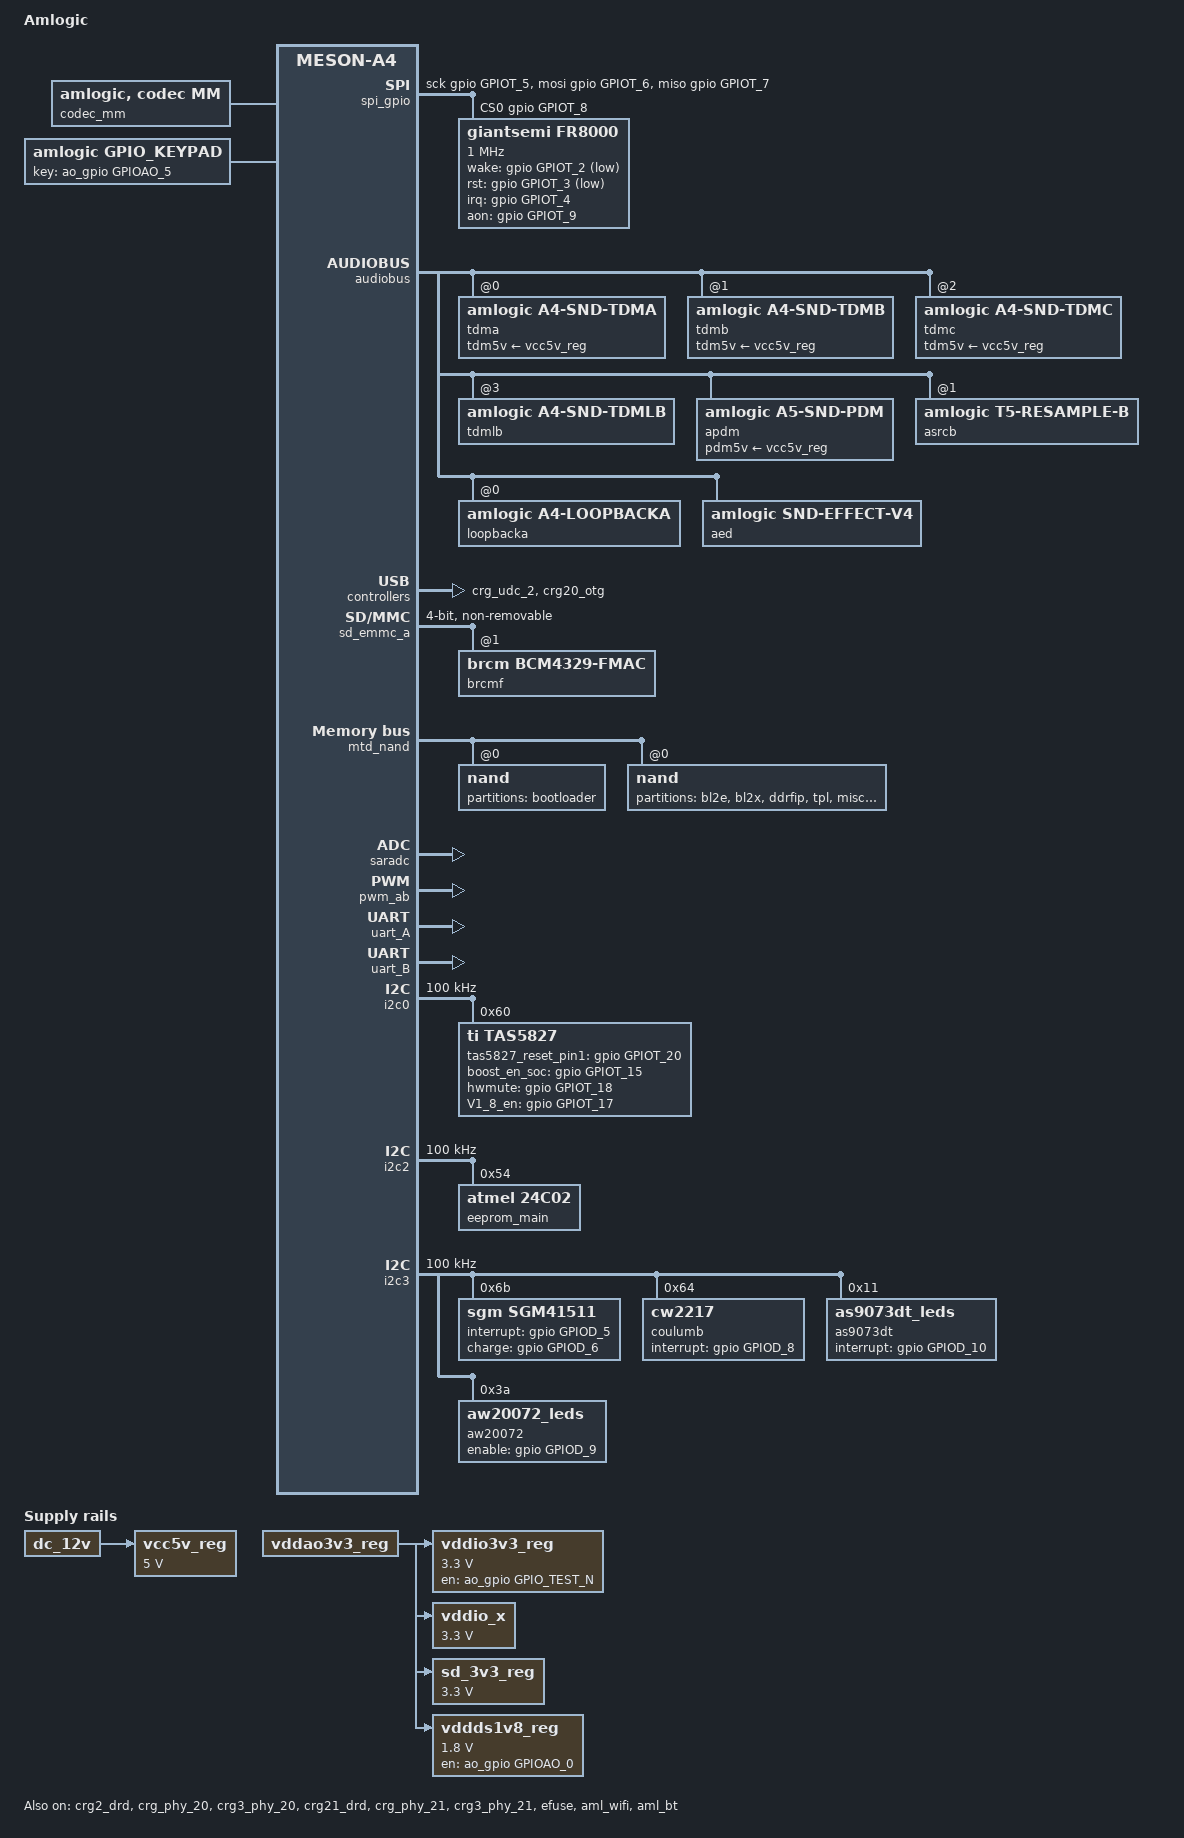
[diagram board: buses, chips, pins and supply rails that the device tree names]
// SPDX-License-Identifier: (GPL-2.0+ OR MIT)
/*
 * Copyright (c) 2021 Amlogic, Inc. All rights reserved.
 */

/dts-v1/;

#include "meson-a4.dtsi"
#include <dt-bindings/input/input.h>

/ {
	model = "Amlogic";
	amlogic-dt-id = "a4_a113l2_ba400";
	compatible = "amlogic, a4";
	interrupt-parent = <&gic>;
	#address-cells = <2>;
	#size-cells = <2>;

	aliases {
		serial0 = &uart_B;
		serial1 = &uart_A;
		serial2 = &uart_D;
		serial3 = &uart_E;
		serial4 = &uart_AO;
		i2c0 = &i2c0;
		i2c1 = &i2c1;
		i2c2 = &i2c2;
		i2c3 = &i2c3;
		//spi0 = &spifc;
		spi1 = &spicc0;
		spi2 = &spicc1;
		tsensor0 = &p_tsensor;
	};

	memory@00000000 {
		device_type = "memory";
		linux,usable-memory = <0x0 0x0 0x0 0x20000000>;
	};

	reserved-memory {
		#address-cells = <2>;
		#size-cells = <2>;
		ranges;

		ramdump_bl33z@00000000 {
			reg = <0x0 0x0 0x0 0x1800000>; /* 0 ~ 24M */
			status = "disabled";
		};

		dsp_fw_reserved:linux,dsp_fw {
			compatible = "shared-dma-pool";
			reusable;
			size = <0x0 0x00800000>;
			alignment = <0x0 0x00400000>;
			alloc-ranges = <0x0 0x30000000 0x0 0x00800000>;
		};

		/* global autoconfigured region for contiguous allocations */
		ramoops@0x07400000 {
			compatible = "ramoops";
			reg = <0x0 0x07400000 0x0 0x00100000>;
			record-size = <0x20000>;
			console-size = <0x40000>;
			ftrace-size = <0x80000>;
			pmsg-size = <0x20000>;
		};

		secmon_reserved:linux,secmon {
			compatible = "shared-dma-pool";
			reusable;
			size = <0x0 0x3400000>;
			alignment = <0x0 0x400000>;
			alloc-ranges = <0x0 0x05000000 0x0 0x00c00000>;
		};

		logo_reserved:linux,meson-fb {
			compatible = "shared-dma-pool";
			reusable;
			/* keep sync with fb */
			/* fox example:logo_addr = "0x3f800000"*/
			size = <0x0 0x0>;
			alignment = <0x0 0x400000>;
			reg = <0x0 0x3f000000 0x0 0x0>;
		};

		ion_cma_reserved:linux,ion-dev {
			compatible = "shared-dma-pool";
			reusable;
			size = <0x0 0x2000000>;
			alignment = <0x0 0x400000>;
		};
		codec_mm_cma:linux,codec_mm_cma {
			compatible = "shared-dma-pool";
			reusable;
			/* ion_codec_mm max can alloc size 80M*/
			size = <0x0 0x1000000>;
			alignment = <0x0 0x400000>;
			linux,contiguous-region;
		};

		/* codec shared reserved */
		codec_mm_reserved:linux,codec_mm_reserved {
			compatible = "amlogic, codec-mm-reserved";
			size = <0x0 0x0>;
			alignment = <0x0 0x100000>;
			//no-map;
		};
	};

	codec_mm {
		compatible = "amlogic, codec, mm";
		memory-region = <&codec_mm_cma &codec_mm_reserved>;
		dev_name = "codec_mm";
		status = "okay";
	};

	vcc5v_reg: fixed@vcc5v_reg{
		vin-supply = <&dc_12v>;
		compatible = "regulator-fixed";
		regulator-name = "VCC5V";
		regulator-min-microvolt = <5000000>;
		regulator-max-microvolt = <5000000>;
		//BA400 2R52 is NC;
		//gpio = <&ao_gpio GPIO_TEST_N GPIO_ACTIVE_HIGH>;
		//enable-active-high;
		regulator-boot-on;
		//regulator-always-on;
	};

	vddio3v3_reg: fixed@vddio3v3_reg{
		vin-supply = <&vddao3v3_reg>;
		compatible = "regulator-fixed";
		regulator-name = "VDDIO_3V3";
		regulator-min-microvolt = <3300000>;
		regulator-max-microvolt = <3300000>;
		gpio = <&ao_gpio GPIO_TEST_N GPIO_ACTIVE_HIGH>;
		enable-active-high;
		regulator-boot-on;
		regulator-always-on;
	};

	vddio_x: fixed@vddio_x {
		vin-supply = <&vddao3v3_reg>;
		compatible = "regulator-fixed";
		regulator-name = "VDDIO_X";
		regulator-min-microvolt = <3300000>;
		regulator-max-microvolt = <3300000>;
		// for led use GPIOD_8
		//gpios = <&gpio GPIOD_8 GPIO_ACTIVE_HIGH>;
		regulator-boot-on;
		regulator-always-on;
	};

	sd_3v3_reg: fixed@sd_3v3_reg{
		vin-supply = <&vddao3v3_reg>;
		compatible = "regulator-fixed";
		regulator-name = "SD_3V3";
		regulator-min-microvolt = <3300000>;
		regulator-max-microvolt = <3300000>;
		regulator-boot-on;
		regulator-always-on;
	};

	vddds1v8_reg: fixed@vddds1v8_reg{
		vin-supply = <&vddao3v3_reg>;
		compatible = "regulator-fixed";
		regulator-name = "VDD_DSOFF_1V8";
		regulator-min-microvolt = <1800000>;
		regulator-max-microvolt = <1800000>;
		gpio = <&ao_gpio GPIOAO_0 GPIO_ACTIVE_HIGH>;
		enable-active-high;
		regulator-boot-on;
		regulator-always-on;
	};

	provisionkey {
		compatible = "amlogic, provisionkey";
		status = "disabled";
		key-permit-default = "write";
		//new key not need add dts if started with KEY_PROVISION_
		KEY_PROVISION_XXX { };
		//test_my_added_keyname { };
	};//End provisionkey

	unifykey{
		compatible = "amlogic,unifykey";
		status = "okay";
		unifykey-num = <30>;
		unifykey-index-0 = <&keysn_0>;
		unifykey-index-1 = <&keysn_1>;
		unifykey-index-2 = <&keysn_2>;
		unifykey-index-3 = <&keysn_3>;
		unifykey-index-4 = <&keysn_4>;
		unifykey-index-5 = <&keysn_5>;
		unifykey-index-6 = <&keysn_6>;
		unifykey-index-7 = <&keysn_7>;
		unifykey-index-8 = <&keysn_8>;
		unifykey-index-9 = <&keysn_9>;
		unifykey-index-10 = <&keysn_10>;
		unifykey-index-11 = <&keysn_11>;
		unifykey-index-12 = <&keysn_12>;
		unifykey-index-13 = <&keysn_13>;
		unifykey-index-14 = <&keysn_14>;
		unifykey-index-15 = <&keysn_15>;
		unifykey-index-16 = <&keysn_16>;
		unifykey-index-17 = <&keysn_17>;
		unifykey-index-18 = <&keysn_18>;
		unifykey-index-19 = <&keysn_19>;
		unifykey-index-20 = <&keysn_20>;
		unifykey-index-21 = <&keysn_21>;
		unifykey-index-22 = <&keysn_22>;
		unifykey-index-23 = <&keysn_23>;
		unifykey-index-24 = <&keysn_24>;
		unifykey-index-25 = <&keysn_25>;
		unifykey-index-26 = <&keysn_26>;
		unifykey-index-27 = <&keysn_27>;
		unifykey-index-28 = <&keysn_28>;
		unifykey-index-29 = <&keysn_29>;
		keysn_0:key_0{
			key-name = "usid";
			key-device = "normal";
			key-permit = "read","write","del";
		};
		keysn_1:key_1{
			key-name = "mac";
			key-device = "normal";
			key-permit = "read","write","del";
		};
		keysn_2:key_2{
			key-name = "secure_boot_set";
			key-device = "efuse";
			key-permit = "write";
		};
		keysn_3:key_3{
			key-name = "mac_bt";
			key-device = "normal";
			key-permit = "read","write","del";
			key-type  = "mac";
		};
		keysn_4:key_4{
			key-name = "mac_wifi";
			key-device = "normal";
			key-permit = "read","write","del";
			key-type = "mac";
		};
		keysn_5:key_5{
			key-name = "deviceid";
			key-device = "normal";
			key-permit = "read","write","del";
		};
		keysn_6:key_6{
			key-name = "region_code";
			key-device = "normal";
			key-permit = "read","write","del";
		};
		keysn_7:key_7{
			key-name = "oemkey";
			key-device = "normal";
			key-permit = "read","write","del";
		};
		keysn_8:key_8{
			key-name = "model_id-1";
			key-device = "normal";
			key-permit = "read","write","del";
		};
		keysn_9:key_9{
			key-name = "anti_spoofing_pri-1";
			key-device = "normal";
			key-permit = "read","write","del";
		};
		keysn_10:key_10{
			key-name = "anti_spoofing_pub-1";
			key-device = "normal";
			key-permit = "read","write","del";
		};
		keysn_11:key_11{
			key-name = "model_id-2";
			key-device = "normal";
			key-permit = "read","write","del";
		};
		keysn_12:key_12{
			key-name = "anti_spoofing_pri-2";
			key-device = "normal";
			key-permit = "read","write","del";
		};
		keysn_13:key_13{
			key-name = "anti_spoofing_pub-2";
			key-device = "normal";
			key-permit = "read","write","del";
		};
		keysn_14:key_14{
			key-name = "model_id-3";
			key-device = "normal";
			key-permit = "read","write","del";
		};
		keysn_15:key_15{
			key-name = "anti_spoofing_pri-3";
			key-device = "normal";
			key-permit = "read","write","del";
		};
		keysn_16:key_16{
			key-name = "anti_spoofing_pub-3";
			key-device = "normal";
			key-permit = "read","write","del";
		};
		keysn_17:key_17{
                        key-name = "sibici_wakeup_key";
                        key-device = "normal";
                        key-permit = "read","write","del";
                };
		keysn_18:key_18{
                        key-name = "reserv_ggec_key";
                        key-device = "normal";
                        key-permit = "read","write","del";
                };
		keysn_19:key_19{
			key-name = "gcast_model_key";
			key-device = "normal";
			key-permit = "read","write","del";
		};
		keysn_20:key_20{
			key-name = "gcast_model_cert";
			key-device = "normal";
			key-permit = "read","write","del";
		};
		keysn_21:key_21{
			key-name = "gcast_client_key";
			key-device = "normal";
			key-permit = "read","write","del";
		};
		keysn_22:key_22{
			key-name = "gcast_client_cert";
			key-device = "normal";
			key-permit = "read","write","del";
		};
		keysn_23:key_23{
			key-name = "lak";
			key-device = "normal";
			key-permit = "read","write","del";
		};
		keysn_24:key_24{
			key-name = "mak";
			key-device = "normal";
			key-permit = "read","write","del";
		};
		keysn_25:key_25{
			key-name = "dak";
			key-device = "normal";
			key-permit = "read","write","del";
		};
		keysn_26:key_26{
			key-name = "luci_dev_key";
			key-device = "normal";
			key-permit = "read","write","del";
		};
		keysn_27:key_27{
			key-name = "luci_dev_cert";
			key-device = "normal";
			key-permit = "read","write","del";
		};
		keysn_28:key_28{
			key-name = "libre_resv1";
			key-device = "normal";
			key-permit = "read","write","del";
		};
		keysn_29:key_29{
			key-name = "libre_resv2";
			key-device = "normal";
			key-permit = "read","write","del";
		};

	};//End unifykey

	efusekey:efusekey{
		keynum = <4>;
		key0 = <&key_0>;
		key1 = <&key_1>;
		key2 = <&key_2>;
		key3 = <&key_3>;
		key_0:key_0{
			keyname = "mac";
			offset = <0>;
			size = <6>;
		};
		key_1:key_1{
			keyname = "mac_bt";
			offset = <6>;
			size = <6>;
		};
		key_2:key_2{
			keyname = "mac_wifi";
			offset = <12>;
			size = <6>;
		};
		key_3:key_3{
			keyname = "usid";
			offset = <18>;
			size = <16>;
		};
	};//End efusekey
	/* Audio Related start */
	auge_sound {
		compatible = "amlogic, auge-sound-card";
		aml-audio-card,name = "AML-AUGESOUND";

		/*avout mute gpio*/
		//avout_mute-gpios = <&gpio GPIOD_11 GPIO_ACTIVE_HIGH>;
		//spk_mute-gpios = <&gpio GPIOD_2 GPIO_ACTIVE_LOW>;

		aml-audio-card,dai-link@0 {
			format = "dsp_b";
			mclk-fs = <512>;
			//continuous-clock;
			//bitclock-inversion;
			//frame-inversion;
			/* master mode */
			bitclock-master = <&tdma>;
			frame-master = <&tdma>;
			/* slave mode */
			//bitclock-master = <&tdmacodec>;
			//frame-master = <&tdmacodec>;

			suffix-name = "alsaPORT-pcm";
			tdmacpu: cpu {
				sound-dai = <&tdma>;
				dai-tdm-slot-tx-mask =
							<1>;
				dai-tdm-slot-rx-mask =
							<1>;
				dai-tdm-slot-num = <2>;
				dai-tdm-slot-width = <16>;
				system-clock-frequency = <256000>;
			};
			tdmacodec: codec {
				sound-dai = <&dummy_codec>;
			};
		};

		aml-audio-card,dai-link@1 {
			format = "i2s";
			mclk-fs = <256>;
			//continuous-clock;
			//bitclock-inversion;
			//frame-inversion;
			/* master mode */
			bitclock-master = <&tdmb>;
			frame-master = <&tdmb>;
			/* slave mode */
			//bitclock-master = <&tdmbcodec>;
			//frame-master = <&tdmbcodec>;
			/* suffix-name, sync with android audio hal
			 * what's the dai link used for
			 */
			suffix-name = "alsaPORT-i2s";
			cpu {
				sound-dai = <&tdmb>;
				dai-tdm-slot-tx-mask = <1 1>;
				//dai-tdm-slot-rx-mask = <1 1>;
				dai-tdm-slot-num = <2>;
				/*
				 * dai-tdm-slot-tx-mask =
				 *	<1 1 1 1 1 1 1 1>;
				 * dai-tdm-slot-rx-mask =
				 *	<1 1 1 1 1 1 1 1>;
				 * dai-tdm-slot-num = <8>;
				 */
				dai-tdm-slot-width = <32>;
				system-clock-frequency = <12288000>;
			};
			tdmbcodec: codec {
				prefix-names = "tas5827";
				sound-dai = <&tas5827>;
			};
		};

		aml-audio-card,dai-link@2 {
			mclk-fs = <64>;
			/* suffix-name, sync with android audio hal
			 * what's the dai link used for
			 */
			suffix-name = "alsaPORT-pdm";
			cpu {
				sound-dai = <&apdm>;
			};
			codec {
				sound-dai = <&dummy_codec>;
			};
		};
		aml-audio-card,dai-link@3 {
			mclk-fs = <256>;
			continuous-clock;
			suffix-name = "alsaPORT-loopback";
			cpu {
				sound-dai = <&loopbacka>;
				system-clock-frequency = <12288000>;
			};
			codec {
				sound-dai = <&dummy_codec>;
			};
		};

		aml-audio-card,dai-link@4 {
			format = "dsp_a";
			mclk-fs = <512>;
			//continuous-clock;
			bitclock-inversion;
			//frame-inversion;
			/* master mode */
			bitclock-master = <&tdmc>;
			frame-master = <&tdmc>;
			/* slave mode */
			//bitclock-master = <&tdmccodec>;
			//frame-master = <&tdmccodec>;
			/* suffix-name, sync with android audio hal used for */
			// suffix-name = "alsaPORT-tdmin";
			cpu {
				sound-dai = <&tdmc>;
				dai-tdm-slot-tx-mask = <1>;
				dai-tdm-slot-rx-mask = <1>;
				dai-tdm-slot-num = <2>;
				dai-tdm-slot-width = <32>;
				system-clock-frequency = <512000>;
			};
			codec {
				sound-dai = <&dummy_codec>;
			};
		};

		aml-audio-card,dai-link@5 {
			format = "i2s";
			mclk-fs = <256>;
			//continuous-clock;
			//bitclock-inversion;
			//frame-inversion;
			/* master mode */
			bitclock-master = <&tdmlb>;
			frame-master = <&tdmlb>;
			/* slave mode */
			/*
			 * bitclock-master = <&tdmacodec>;
			 * frame-master = <&tdmacodec>;
			 */
			/* suffix-name, sync with android audio hal used for */
			suffix-name = "alsaPORT-pcm";
			cpu {
				sound-dai = <&tdmlb>;
				dai-tdm-slot-tx-mask =
							<1 1>;
				dai-tdm-slot-rx-mask =
							<1 1>;
				dai-tdm-slot-num = <2>;
				dai-tdm-slot-width = <32>;
				system-clock-frequency = <12288000>;
			};
			codec {
				sound-dai = <&dummy_codec>;
			};
		};
	};

	audiolocker: locker {
		compatible = "amlogic, audiolocker";
		clock-names = "lock_out", "lock_in", "out_src",
					"in_src", "out_calc", "in_ref";
		interrupts = <GIC_SPI 1 IRQ_TYPE_EDGE_RISING>;
		interrupt-names = "irq";
		frequency = <49000000>; /* pll */
		dividor = <49>; /* locker's parent */
		status = "disabled";
	};/* Audio Related end */

	adc_keypad {
		compatible = "amlogic, adc_keypad";
		status = "disabled";
		key_name = "update", "vol-", "vol+", "ok" ,"power";
		key_num = <5>;
		io-channels = <&saradc 2>;
		io-channel-names = "key-chan-2";
		key_chan = <2 2 2 2 2>;
		key_code = <KEY_SETUP KEY_VOLUMEDOWN KEY_VOLUMEUP KEY_ENTER KEY_POWER>;
		key_val = <0 143 266 389 512>; /* val=voltage/1800mV*1023 */
		key_tolerance = <40 40 40 40 40>;
	};

	gpio_keypad {
		compatible = "amlogic, gpio_keypad";
		status = "okay";
		scan_period = <20>;
		key_num = <1>;
		key_name = "power";
		key_code = <KEY_POWER>;
		key-gpios = <&ao_gpio GPIOAO_5 GPIO_ACTIVE_HIGH>;
		detect_mode = <0>; /* 0:polling mode, 1:irq mode */
	};

	partitions: partitions{
		parts = <5>;
		part-0 = <&recovery>;
		part-1 = <&misc>;
		part-2 = <&boot>;
		part-3 = <&system>;
		part-4 = <&data>;

		recovery:recovery{
			pname = "recovery";
			size = <0x0 0x2000000>;
			mask = <1>;
		};
		misc:misc{
			pname = "misc";
			size = <0x0 0x800000>;
			mask = <1>;
		};
		boot:boot
		{
			pname = "boot";
			size = <0x0 0x4000000>;
			mask = <1>;
		};
		system:system
		{
			pname = "system";
			size = <0x0 0x40000000>;
			mask = <1>;
		};
		data:data
		{
			pname = "data";
			size = <0xffffffff 0xffffffff>;
			mask = <4>;
		};
	};

	spi_gpio: spi-gpio {
					#address-cells = <1>;
					#size-cells = <0>;
					compatible = "spi-gpio";
					//pinctrl-names = "default";
					//pinctrl-0 = <&spi_gt_pin>;
					gpio-sck = <&gpio GPIOT_5 GPIO_ACTIVE_HIGH>;
					gpio-mosi = <&gpio GPIOT_6 GPIO_ACTIVE_HIGH>;
					gpio-miso = <&gpio GPIOT_7 GPIO_ACTIVE_HIGH>;
					cs-gpios = <&gpio GPIOT_8 GPIO_ACTIVE_HIGH>;
					status = "ok";
					fr8000@0 {
						status = "ok";
						compatible = "giantsemi,fr8000";
						//pinctrl-names = "default";
						//pinctrl-0 = <&gt_uwb_pin>;
						wake-gpio = <&gpio GPIOT_2 GPIO_ACTIVE_LOW>;
						rst-gpio = <&gpio GPIOT_3 GPIO_ACTIVE_LOW>;
						irq-gpio = <&gpio GPIOT_4 GPIO_ACTIVE_HIGH>;
						aon-gpio = <&gpio GPIOT_9 GPIO_ACTIVE_HIGH>;
						reg = <0>;
						spi-max-frequency = <1000000>;
					};
	};
};

&audiobus {
	tdma: tdm@0 {
		compatible = "amlogic, a4-snd-tdma";
		#sound-dai-cells = <0>;
		dai-tdm-lane-slot-mask-in = <1>;
		dai-tdm-lane-slot-mask-out = <1>;
		dai-tdm-clk-sel = <0>;
		clocks = <&clkaudio CLKID_AUDIO_MCLK_A
				&clkaudio CLKID_AUDIO_MCLK_PAD2
				&clkc CLKID_HIFI_PLL>;
		clock-names = "mclk", "mclk_pad", "clk_srcpll";
		pinctrl-names = "tdm_pins","tdmout_a_gpio";
		pinctrl-0 = <
			&tdm_a_pins
			&tdm_d0_pins
			&tdm_d1_pins
			&tdma_clk_pins>;
		/* pcpd_monitor */
		/* pcpd_monitor_src = <&pcpd_monitor_a>; */
		tdm5v-supply = <&vcc5v_reg>;
		//tdm3v3-supply = <&vddio3v3_reg>;
		/* enable control gain */
		ctrl_gain = <1>;
		/* suspend disable clk */
		suspend-clk-off = <1>;
		src-clk-freq = <491520000>;
		status = "okay";
	};

	tdmb: tdm@1 {
		compatible = "amlogic, a4-snd-tdmb";
		#sound-dai-cells = <0>;
		//dai-tdm-lane-slot-mask-in = <1 1 0 0>;
		dai-tdm-lane-slot-mask-out = <1 1>;
		dai-tdm-clk-sel = <1>;
		clocks = <&clkaudio CLKID_AUDIO_MCLK_B
				&clkaudio CLKID_AUDIO_MCLK_PAD1
				&clkc CLKID_HIFI_PLL>;
		clock-names = "mclk", "mclk_pad", "clk_srcpll";
		pinctrl-names = "tdm_pins", "tdmout_a_gpio";
		pinctrl-0 =
			<&tdmout_b_pins
			&tdm_d8_pins
			&tdmb_clk_pins>;
		pinctrl-1 = <&tdmout_b_gpios>;
		start_clk_enable = <1>;
		/* pcpd_monitor */
		/* pcpd_monitor_src = <&pcpd_monitor_b>; */
		/* enable control gain */
		ctrl_gain = <1>;
		tdm5v-supply = <&vcc5v_reg>;
		//tdm3v3-supply = <&vddio3v3_reg>;
		/* suspend disable clk */
		suspend-clk-off = <1>;
		src-clk-freq = <491520000>;
		status = "okay";
	};

	tdmc:tdm@2 {
		compatible = "amlogic, a4-snd-tdmc";
		#sound-dai-cells = <0>;
		dai-tdm-lane-slot-mask-in = <1 0>;
		// dai-tdm-lane-slot-mask-out = <0 1>;
		dai-tdm-clk-sel = <2>;
		clocks = <&clkaudio CLKID_AUDIO2_MCLK_VAD
				&clkc CLKID_HIFI_PLL>;
		clock-names = "mclk","clk_srcpll";
		//pinctrl-names = "tdm_pins", "tdmout_a_gpio";
		//pinctrl-0 = <
		//	&tdmin_c_pins
		//	&tdm_d0_pins
		//	&tdm_d1_pins
		//	&tdmc_clk_pins>;
		//pinctrl-1 = <&tdmin_c_gpio>;
		tdm5v-supply = <&vcc5v_reg>;
		//tdm3v3-supply = <&vddio3v3_reg>;
		/* enable control gain */
		ctrl_gain = <1>;
		/* suspend disable clk */
		suspend-clk-off = <1>;
		src-clk-freq = <491520000>;
		status = "okay";
	};

	tdmlb:tdm@3 {
		compatible = "amlogic, a4-snd-tdmlb";
		#sound-dai-cells = <0>;

		dai-tdm-lane-slot-mask-in = <1 1>;
		dai-tdm-clk-sel = <1>;

		clocks = <&clkaudio CLKID_AUDIO_MCLK_B
				&clkc CLKID_HIFI_PLL>;
		clock-names = "mclk", "clk_srcpll";
		pinctrl-names = "tdm_pins";
		pinctrl-0 =<
			&tdmin_c_pins
			&tdm_d9_pins>;
		suspend-clk-off = <1>;
		/* enable control gain */
		tdmin-src-name = "tdmin_b";
		src-clk-freq = <491520000>;
		status = "okay";
	};

	spdifa: spdif@0 {
		compatible = "amlogic, a5-snd-spdif-a";
		#sound-dai-cells = <0>;
		clocks = <&clkc CLKID_HIFI_PLL
				&clkc CLKID_FCLK_DIV4
				&clkaudio CLKID_AUDIO_GATE_SPDIFIN
				&clkaudio CLKID_AUDIO_GATE_SPDIFOUT_A
				&clkaudio CLKID_AUDIO_SPDIFIN
				&clkaudio CLKID_AUDIO_SPDIFOUT_A>;
		clock-names = "sysclk", "fixed_clk", "gate_spdifin",
				"gate_spdifout", "clk_spdifin", "clk_spdifout";
		interrupts =
				<GIC_SPI 35 IRQ_TYPE_EDGE_RISING>;

		interrupt-names = "irq_spdifin";
		pinctrl-names = "spdif_pins", "spdif_pins_mute";
		pinctrl-0 = <&spdifout
			     &spdifin>;
		pinctrl-1 = <&spdif_a_mute>;

		/*spdif clk tuning enable*/
		clk_tuning_enable = <1>;

		spdif5v-supply = <&vcc5v_reg>;
		//spdif3v3-supply = <&vddio3v3_reg>;
		/* suspend disable clk */
		suspend-clk-off = <1>;
		status = "disabled";
	};

	apdm: pdm {
		compatible = "amlogic, a5-snd-pdm";
		#sound-dai-cells = <0>;

		clocks = <&clkaudio CLKID_AUDIO2_GATE_PDM
			&clkc CLKID_FCLK_DIV4
			&clkc CLKID_HIFI_PLL
			&clkaudio CLKID_AUDIO2_PDM_DCLK
			&clkaudio CLKID_AUDIO2_PDM_SYSCLK>;
		clock-names = "gate",
			"sysclk_srcpll",
			"dclk_srcpll",
			"pdm_dclk",
			"pdm_sysclk";
		power-domains = <&pwrdm PDID_A4_AUDIO_PDM>;
		pinctrl-names = "pdm_pins";
		pinctrl-0 = <&pdmin>;

		/* mode 0~4, defalut:1 */
		filter_mode = <1>;
		pdm5v-supply = <&vcc5v_reg>;
		//pdm3v3-supply = <&vddio3v3_reg>;
		train_sample_count = <0xb>;
		lane-mask-in = <1 1 0 0>;
		src-clk-freq = <491520000>;
		status = "okay";
	};

	acc:effect_acc {
		compatible = "amlogic, snd-effect-acc";
		#sound-dai-cells = <0>;
		clocks = <&clkc CLKID_AUDIO_CORE>;
		clock-names = "acc_core";

		/*
		 * frddr1->EQ->ASRC->toIO/toddr0
		 * 0:to_ddr
		 * 1:Null
		 * 2:to_tdmout_a
		 * 3:to_tdmout_b
		 * 4:to_spdifout
		 */
		output_module = <3>;
		/* suspend disable clk */
		suspend-clk-off = <1>;
		status = "disabled";
	};

	/* a4 only one resample, a/b can only use one at the same time */
	/* spdif use this resample */
	asrca: resample@0 {
		compatible = "amlogic, t5-resample-a";
		clocks = <&clkc CLKID_HIFI_PLL
				&clkaudio CLKID_AUDIO_MCLK_F
				&clkaudio CLKID_AUDIO_RESAMPLE_A>;
		clock-names = "resample_pll", "resample_src", "resample_clk";
		/*same with toddr_src
		 *	TDMIN_A, 0
		 *	TDMIN_B, 1
		 *	TDMIN_C, 2
		 *	SPDIFIN, 3
		 *	PDMIN,  4
		 *	NONE,
		 *	TDMIN_LB, 6
		 *	LOOPBACK, 7
		 */
		resample_module = <3>;
		/* suspend disable clk */
		suspend-clk-off = <1>;
		status = "disabled";
	};

	/* loopback use this resample */
	asrcb: resample@1 {
		compatible = "amlogic, t5-resample-b";
		clocks = <&clkc CLKID_HIFI_PLL
				&clkaudio CLKID_AUDIO_MCLK_F
				&clkaudio CLKID_AUDIO_RESAMPLE_B>;
		clock-names = "resample_pll", "resample_src", "resample_clk";
		/*this resample is only used for loopback_A.*/
		capture_sample_rate = <16000>;
		/* suspend disable clk */
		suspend-clk-off = <1>;
		src-clk-freq = <491520000>;
		status = "okay";
	};

	vad:vad {
		compatible = "amlogic, snd-vad-top";
		#sound-dai-cells = <0>;

		clocks = <&clkaudio CLKID_AUDIO2_GATE_TOVAD
			&clkc CLKID_FCLK_DIV4
			&clkaudio CLKID_AUDIO2_VAD_CLK>;
		clock-names = "gate", "pll", "clk";

		interrupts = <GIC_SPI 39 IRQ_TYPE_EDGE_RISING
				GIC_SPI 44 IRQ_TYPE_EDGE_RISING>;
		interrupt-names = "irq_wakeup", "irq_frame_sync";

		/*
		 * Data src sel:
		 * 0: tdmin_a;
		 * 1: tdmin_b;
		 * 2: tdmin_c;
		 * 3: spdifin;
		 * 4: pdmin;
		 * 5: loopback_b;
		 * 6: tdmin_lb;
		 * 7: loopback_a;
		 */
		src = <4>;

		/*
		 * deal with hot word in user space or kernel space
		 * 0: in user space
		 * 1: in kernel space
		 */
		level = <1>;

		status = "disabled";
	};

	loopbacka: loopback@0 {
		compatible = "amlogic, a4-loopbacka";
		#sound-dai-cells = <0>;

		clocks = <&clkaudio CLKID_AUDIO2_GATE_PDM
			&clkc CLKID_FCLK_DIV4
			&clkc CLKID_HIFI_PLL
			&clkaudio CLKID_AUDIO2_PDM_DCLK
			&clkaudio CLKID_AUDIO2_PDM_SYSCLK
			&clkc CLKID_HIFI_PLL
			&clkaudio CLKID_AUDIO_MCLK_B>;
		clock-names = "pdm_gate",
			"pdm_sysclk_srcpll",
			"pdm_dclk_srcpll",
			"pdm_dclk",
			"pdm_sysclk",
			"tdminlb_mpll",
			"tdminlb_mclk";

		/* datain src
		 * 0: tdmin_a;
		 * 1: tdmin_b;
		 * 2: tdmin_c;
		 * 3: spdifin;
		 * 4: pdmin;
		 */
		src-clk-freq = <491520000>;
		datain_src = <4>;
		datain_chnum = <4>;
		datain_chmask = <0xf>;
		/* config which data pin for loopback */
		datain-lane-mask-in = <1 1 0 0>;

		/* calc mclk for datalb */
		mclk-fs = <256>;

		/* tdmin_lb src
		 * 0: tdmoutA
		 * 1: tdmoutB
		 * 2: tdmoutC
		 * 3: tdmoutD
		 * 4: PAD_TDMINA_DIN*, refer to core pinmux
		 * 5: PAD_TDMINB_DIN*, refer to core pinmux
		 * 6: PAD_TDMINC_DIN*, refer to core pinmux
		 * 7: PAD_TDMINA_D*, oe, refer to core pinmux
		 * 8: PAD_TDMINB_D*, oe, refer to core pinmux
		 */
		/* if tdmin_lb >= 3, use external loopback */
		datalb_src = <5>;
		datalb_chnum = <2>;
		datalb_chmask = <0x3>;
		/* config which data pin as loopback */
		datalb-lane-mask-in = <1 0 0 0>;
		/* suspend disable clk */
		suspend-clk-off = <1>;
		data_lb_rate = <48000>;
		ref-src = <&tdmb>;
		mic-src = <&apdm>;
		status = "okay";
	};

	aed:effect {
		compatible = "amlogic, snd-effect-v4";
		#sound-dai-cells = <0>;
		clocks = <&clkaudio CLKID_AUDIO_GATE_EQDRC
			&clkc CLKID_FCLK_DIV4
			&clkaudio CLKID_AUDIO_EQDRC>;
		clock-names = "gate", "srcpll", "eqdrc";
		/*
		 * 0:tdmout_a
		 * 1:tdmout_b
		 * 2:tdmout_c
		 * 3:spdifout
		 * 4:spdifout_b
		 */
		eqdrc_module = <1>;
		/* max 0xf, each bit for one lane, usually one lane */
		lane_mask = <0x1>;
		/* max 0xff, each bit for one channel */
		channel_mask = <0x03>;
		status = "okay";
	};
}; /* end of audiobus */

&acodec {
	diff_input = <1>;
};

&periphs_pinctrl {

	tdmout_b_pins: tdmout_b_pin {
		mux { /* GPIOT_11, GPIOT_12, GPIOT_13 */
			groups = "tdm_fs2_t11",
				"tdm_sclk2_t12",
				"tdm_d8";
			function = "tdm";
		};
	};

	tdm_b_pins: tdm_b_pin {
		mux {
			/*
			 * GPIOT_2, GPIOT_3, GPIOT_0, GPIOT_1, GPIOT_5, GPIOT_6,
			 * GPIOT_7, GPIOT_8, GPIOT_18, GPIOT_19
			 */
			groups = "tdm_fs1_t2",
				"tdm_sclk1_t3",
				"tdm_d2_t0",
				"tdm_d3_t1",
				"tdm_d4_t5",
				"tdm_d5_t6",
				"tdm_d6_t7",
				"tdm_d7",
				"tdm_d12_t18",
				"tdm_d13_t19";
			function = "tdm";
		};
	};

	tdmout_b_gpios: tdmout_b_gpios {
		mux {
			groups = "GPIOT_11",
				"GPIOT_12",
				"GPIOT_13";
			function = "gpio_periphs";
			output-low;
		};
	};

	tdmin_c_gpios: tdmin_c_gpios {
		mux {
			groups = "GPIOT_14";
			function = "gpio_periphs";
			output-low;
		};
	};

	tdmin_c_pins: tdmin_c_pin {
		mux { /* GPIOT_14 */
			groups = "tdm_d9";
			function = "tdm";
		};
	};
	tdmout_b_gpio: tdmout_b_gpio {
		mux {
			groups ="GPIOT_0",
				"GPIOT_1",
				"GPIOT_2",
				"GPIOT_3",
				"GPIOT_4",
				"GPIOT_5",
				"GPIOT_6",
				"GPIOT_7",
				"GPIOT_8",
				"GPIOT_18",
				"GPIOT_19";
			function = "gpio_periphs";
			output-low;
		};
	};
	tdmin_c_gpio: tdmin_c_gpio {
		mux {
			groups ="GPIOX_7",
				"GPIOX_8",
				"GPIOX_9",
				"GPIOX_10";
			function = "gpio_periphs";
			output-low;
		};
	};
	tdm_a_pins: tdm_a_pin {
		mux { /* GPIOX_7, GPIOX_8, GPIOX_9, GPIOX_10, */
			groups = "tdm_d1",
				"tdm_d0_x8",
				"tdm_fs0_x9",
				"tdm_sclk0_x10";
			function = "tdm";
		};
	};

	pdmin: pdmin {
		mux { /* GPIOD_2, GPIOD_3, GPIOD_4 */
			groups = "pdm_din1_d2",
				"pdm_din0_d3",
				"pdm_dclk_d4";
			function = "pdm";
		};
	};

}; /* end of periphs_pinctrl */

&pinctrl_audio {
	tdm_d0_pins: tdm_d0_pin {
		mux {
			groups = "tdm_d0";
			function = "tdmouta_lane0";
		};
	};

	tdm_d1_pins: tdm_d1_pin {
		mux {
			groups = "tdm_d1";
			function = "tdmina_lane0";
		};
	};

	tdm_d2_pins: tdm_d2_pin {
		mux {
			groups = "tdm_d2";
			function = "tdmoutb_lane0";
		};
	};

	tdm_d3_pins: tdm_d3_pin {
		mux {
			groups = "tdm_d3";
			function = "tdmoutb_lane1";
		};
	};

	tdm_d4_pins: tdm_d4_pin {
		mux {
			groups = "tdm_d4";
			function = "tdmoutb_lane0";
		};
	};

	tdm_d5_pins: tdm_d5_pin {
		mux {
			groups = "tdm_d5";
			function = "tdmoutb_lane1";
		};
	};

	tdm_d6_pins: tdm_d6_pin {
		mux {
			groups = "tdm_d6";
			function = "tdmoutb_lane4";
		};
	};

	tdm_d7_pins: tdm_d7_pin {
		mux {
			groups = "tdm_d7";
			function = "tdmoutb_lane5";
		};
	};

	tdm_d8_pins: tdm_d8_pin {
		mux {
			groups = "tdm_d8";
			function = "tdmoutb_lane0";
		};
	};

	tdm_d9_pins: tdm_d9_pin {
		mux {
			groups = "tdm_d9";
			function = "tdminb_lane0";
		};
	};

	tdm_d10_pins: tdm_d10_pin {
		mux {
			groups = "tdm_d10";
			function = "tdmina_lane2";
		};
	};

	tdm_d11_pins: tdm_d11_pin {
		mux {
			groups = "tdm_d11";
			function = "tdmina_lane3";
		};
	};

	tdm_d12_pins: tdm_d12_pin {
		mux {
			groups = "tdm_d12";
			function = "tdmoutb_lane6";
		};
	};

	tdm_d13_pins: tdm_d13_pin {
		mux {
			groups = "tdm_d13";
			function = "tdmoutb_lane7";
		};
	};

	tdma_clk_pins: tdma_clk_pin {
		mux {
			groups = "tdm_sclk0", "tdm_lrclk0";
			function = "tdm_clk_outa";
		};
	};

	//tdmb_clk_pins: tdmb_clk_pin {
	//	mux {
	//		groups = "tdm_sclk1", "tdm_lrclk1";
	//		function = "tdm_clk_outb";
	//	};
	//};

	tdmb_clk_pins: tdmb_clk_pin {
		mux {
			groups = "tdm_sclk2", "tdm_lrclk2";
			function = "tdm_clk_outb";
		};
	};

	tdmc_clk_pins: tdmc_clk_pin {
		mux {
			groups = "tdm_sclk0", "tdm_lrclk0";
			function = "vadtop_tdm_clk_outc";
		};
	};
};

&audio_data {
	status = "disabled";
};

&crg_udc_2 {
	status = "okay";
};

&crg20_otg {
	status = "okay";
	controller-type = <3>;
};

&crg2_drd {
	compatible = "amlogic, crg-host-drd";
	status = "okay";
};

&crg_phy_20 {
	status = "okay";
	portnum = <2>;
	gpio-vbus-power = "GPIOD_11";
	gpios = <&gpio GPIOD_11 GPIO_ACTIVE_HIGH>;
};

&crg3_phy_20 {
	status = "okay";
	portnum = <0>;
};

&crg21_drd {
	compatible = "amlogic, crg-drd";
	status = "okay";
};

&crg_phy_21 {
	status = "okay";
	portnum = <1>;
	//gpio-vbus-power = "GPIOD_10";
	//gpios = <&gpio GPIOD_10 GPIO_ACTIVE_HIGH>;
};

&crg3_phy_21 {
	status = "okay";
	portnum = <0>;
};

/* SDIO */
&sd_emmc_a {
	status = "okay";
	pinctrl-0 = <&sdio_pins>;
	pinctrl-1 = <&sdio_clk_gate_pins>;
	pinctrl-names = "default", "clk-gate";
	#address-cells = <1>;
	#size-cells = <0>;

	bus-width = <4>;
	cap-sd-highspeed;
	sd-uhs-sdr12;
	sd-uhs-sdr25;
	sd-uhs-sdr50;
	//sd-uhs-sdr104;
	max-frequency = <50000000>;	

	non-removable;
	disable-wp;
	card_type = <3>;
	cap-sdio-irq;
	keep-power-in-suspend;

	//vmmc-supply = <&vddao_3v3>;
	//vqmmc-supply = <&vddio_ao1v8>;

	brcmf: wifi@1 {
		reg = <1>;
		compatible = "brcm,bcm4329-fmac";
	};
};

/* SD card pxp bringup */
//&sd_emmc_a {
//	status = "okay";
//	pinctrl-0 = <&sdcard_pins>;
//	pinctrl-1 = <&sdcard_clk_gate_pins>;
//	pinctrl-2 = <&sd_1bit_pins>;
//	pinctrl-names = "sd_default",
//			"clk-gate",
//			"sd_1bit_pins";
//	bus-width = <4>;
//	cap-sd-highspeed;
//	max-frequency = <200000000>;
//	disable-wp;
//	card_type = <5>;
//
//	cd-gpios = <&gpio GPIOX_7 GPIO_ACTIVE_HIGH>;
//	//vmmc-supply = <&vddao_3v3>;
//	//vqmmc-supply = <&emmc_1v8>;
//};

/* SD card */
&sd_emmc_b {
	status = "disabled";
	pinctrl-0 = <&sdcard_pins>;
	pinctrl-1 = <&sdcard_clk_gate_pins>;
	pinctrl-2 = <&sd_1bit_pins>;
	pinctrl-3 = <&sd_to_ao_uart_clr_pins
		&sdcard_pins &ao_to_sd_uart_pins>;
	pinctrl-4 = <&sd_to_ao_uart_clr_pins
		&sd_1bit_pins &ao_to_sd_uart_pins>;
	pinctrl-5 = <&sdcard_pins &ao_uart_pins>;
	pinctrl-6 = <&sd_to_ao_uart_clr_pins
		&ao_to_sd_uart_pins>;
	pinctrl-7 = <&sdcard_pins &ao_uart_pins>;
	pinctrl-8 = <&sd_to_ao_uart_clr_pins
		&ao_to_sd_uart_pins>;
	pinctrl-names = "sd_default",
			"clk-gate",
			"sd_1bit_pins",
			"sd_clk_cmd_uart_pins",
			"sd_1bit_uart_pins",
			"sd_to_ao_uart_pins",
			"ao_to_sd_uart_pins",
			"sd_to_ao_jtag_pins",
			"ao_to_sd_jtag_pins";
	bus-width = <4>;
	cap-sd-highspeed;
//	sd-uhs-sdr12;
//	sd-uhs-sdr25;
//	sd-uhs-sdr50;
//	sd_uhs-sdr104;
	max-frequency = <200000000>;
	disable-wp;

	//cd-gpios = <&gpio GPIOC_6 GPIO_ACTIVE_HIGH>;
	//dat1-gpios = <&gpio GPIOC_1 GPIO_ACTIVE_HIGH>;
	//vmmc-supply = <&sd_3v3_reg>;
	//vqmmc-supply = <&vddio_x>;
};

&sd_emmc_c {
	status = "disabled";
	pinctrl-0 = <&emmc_pins>, <&emmc_ds_pins>;
	pinctrl-1 = <&emmc_clk_gate_pins>;
	pinctrl-2 = <&emmc_pins_sleep>;
	pinctrl-names = "default", "clk-gate", "sleep";

	bus-width = <8>;
	cap-mmc-highspeed;
	mmc-ddr-1_8v;
	mmc-hs200-1_8v;
	mmc-hs400-1_8v;
	max-frequency = <200000000>;
	non-removable;
	disable-wp;

//	mmc-pwrseq = <&emmc_pwrseq>;
//	vmmc-supply = <&vddao_3v3>;
//	vqmmc-supply = <&vddao_1v8>;
};

&mtd_nand {
	status = "okay";
	#address-cells = <1>;
	#size-cells = <0>;

	pinctrl-names = "nand_norb_mod","nand_cs_only";
	pinctrl-0 = <&all_nand_pins>;
	pinctrl-1 = <&nand_cs_pins>;
	bl_mode = <1>;
	fip_copies = <4>;
	fip_size = <0x200000>;
	ship_bad_block = <1>;
	disa_irq_flag = <1>;
	nand@bootloader {
		reg = <0>;
		#address-cells = <1>;
		#size-cells = <1>;
		nand-ecc-maximize;
		partition@0 {
			label = "bootloader";
			reg = <0x0 0x00000000>;
		};
	};
	nand@normal {
		reg = <0>;
		#address-cells = <1>;
		#size-cells = <1>;
		nand-ecc-maximize;

		partition@0 {
			label = "bl2e";
			reg = <0x0 0x00000000>;
		};
		partition@1 {
			label = "bl2x";
			reg = <0x0 0x00000000>;
		};
		partition@2 {
			label = "ddrfip";
			reg = <0x0 0x00000000>;
		};
		partition@3 {
			label = "tpl";
			reg = <0x0 0x00000000>;
		};
		partition@4 {
			label = "misc";
			reg = <0x0 0x00040000>;
		};
		partition@5 {
			label = "recovery";
			reg = <0x0 0x1200000>;
		};
		partition@6 {
			label = "boot";
			reg = <0x0 0x1000000>;
		};
		partition@7 {
			label = "system";
			reg = <0x0 0x9800000>;
		};
		partition@8 {
			label = "data";
			reg = <0x0 0xffffffff>;
		};
	};
};

&saradc {
	status = "okay";
};

&ir {
	status = "disabled";
	pinctrl-0 = <&remote_pins>;
	pinctrl-names = "default";
};

&spicc0 {
	status = "disabled";
	pinctrl-names = "default";
	pinctrl-0 = <&spicc0_pins_t>;
};

&efuse {
	status = "okay";
};

&spicc1 {
	status = "disabled";
	pinctrl-names = "default";
	pinctrl-0 = <&spicc1_pins_t>;
};

&aml_wifi{
	status = "okay";
	interrupt-gpios = <&ao_gpio   GPIOAO_1  GPIO_ACTIVE_HIGH>;
	power_on-gpios = <&ao_gpio   GPIOAO_4  GPIO_ACTIVE_HIGH>;
};

&aml_bt {
	status = "okay";
	reset-gpios = <&gpio GPIOX_16 GPIO_ACTIVE_HIGH>;
	btwakeup-gpios = <&ao_gpio    GPIOAO_3 GPIO_ACTIVE_HIGH>;
	hostwake-gpios = <&gpio GPIOX_17 GPIO_ACTIVE_HIGH>;
};

&pwm_ab {
	status = "okay";
};

&fb {
	status = "okay";
	display_size_default = <1280 720 1280 1440 32>;
	mem_size = <0x00400000 0x800000>;
	logo_addr = "0x3f000000";
	/* display_device_cnt = <2>; */ /* for dual screen upport */
	mem_alloc = <1>;
	pxp_mode = <0>; /** 0:normal mode 1:pxp mode */
};

&uart_A {
	status = "okay";
	uart-has-rtscts;
};

&uart_B {
	status = "okay";
};

&ethmac {
	status = "disabled";
	phy-handle = <&internal_ephy>;
	phy-mode = "rmii";
};

&i2c0 {
	status = "okay";
	pinctrl-names="default";
	pinctrl-0=<&i2c0_pins3>;
	clock-frequency = <100000>;
	//tas5827
	tas5827: tas5827@60 {
		compatible = "ti,tas5827";
		#sound-dai-cells = <0>;
		reg = <0x60>;
		status = "okay";
		tas5827_reset_pin1 = <&gpio GPIOT_20 GPIO_ACTIVE_HIGH>;
		boost_en_soc = <&gpio GPIOT_15 GPIO_ACTIVE_HIGH>;
		hwmute = <&gpio GPIOT_18 GPIO_ACTIVE_HIGH>;
		V1_8_en = <&gpio GPIOT_17 GPIO_ACTIVE_HIGH>;
	};
};

&i2c2 {
	status = "okay";
	pinctrl-names="default";
	pinctrl-0=<&i2c2_pins1>;
	clock-frequency = <100000>;
	//eeprom
	eeprom_main: eeprom@54 {
		compatible = "atmel,24c02";//"giantec,gt24c02a"
		reg = <0x54>;
		address-bits = <8>;
		page-size = <16>;
		size = <256>;
		//read-only;
		status = "okay";
	};
};

// I2C-D
&i2c3 {
	status = "okay";
	pinctrl-names="default";
	pinctrl-0=<&i2c3_pins1>;
	clock-frequency = <100000>;
	// if we use user mode driver, we must add a node
	sgm41511: sgm41511@6b {
		compatible = "sgm,sgm41511";
		reg = <0x6b>;
		status = "okay";
		interrupt-gpio = <&gpio GPIOD_5 IRQ_TYPE_EDGE_RISING>;
		charge-gpio = <&gpio GPIOD_6 IRQ_TYPE_EDGE_RISING>;
	};
	// cw2217
	coulumb: coulumb2217@64 {
		compatible = "cw2217";
		reg = <0x64>;
		status = "okay";
		cw2217,interrupt-gpios = <&gpio GPIOD_8 IRQ_TYPE_EDGE_RISING>;
	};

	as9073dt: as9073dt_led@11 {
		compatible = "as9073dt_leds";
		reg = <0x11>;
		status = "okay";
		poll_period = <20>;
		detect_mode = <1>; /* 0:polling mode, 1:irq mode */
		key_num = <4>;
		key_name = "k2", "vol+", "vol-", "bt";
		key_code = <KEY_F2 KEY_VOLUMEUP KEY_VOLUMEDOWN KEY_F3>;
		key_chan = <0 1 3 4>;
		interrupt-gpio = <&gpio GPIOD_10 GPIO_ACTIVE_HIGH>;

		key_led1 {
			default_colors = <0 0 0>;
			r_io = <0>;
			g_io = <1>;
			b_io = <2>;
		};

		key_led2 {
			default_colors = <0 0 0>;
			r_io = <5>;
			g_io = <4>;
			b_io = <3>;
		};

		key_led3 {
			default_colors = <0 0 0>;
			r_io = <7>;
			g_io = <6>;
			b_io = <8>;
		};

		key_led4 {
			default_colors = <0 0 0>;
			r_io = <14>;
			g_io = <13>;
			b_io = <12>;
		};
	};

	// AW20072
	aw20072: aw20072_led@3a {
		compatible = "aw20072_leds";
		reg = <0x3a>;
		status = "okay";
		enable-gpio = <&gpio GPIOD_9 GPIO_ACTIVE_HIGH>;
		//interrupt-gpio = <&ao_gpio GPIOAO_3 IRQ_TYPE_EDGE_RISING>;

		led-rgb1 {
			default_colors = <0 0 0>;
			c_io = <6>;        //C1...C6
			r_io_red = <10>;   //R1...R12
			r_io_green = <11>;
			r_io_blue = <12>;
		};
		led-rgb2 {
			default_colors = <0 0 0>;
			c_io = <5>;        //C1...C6
			r_io_red = <10>;   //R1...R12
			r_io_green = <11>;
			r_io_blue = <12>;
		};
		led-rgb3 {
			default_colors = <0 0 0>;
			c_io = <4>;        //C1...C6
			r_io_red = <10>;   //R1...R12
			r_io_green = <11>;
			r_io_blue = <12>;
		};
		led-rgb4 {
			default_colors = <0 0 0>;
			c_io = <3>;        //C1...C6
			r_io_red = <10>;   //R1...R12
			r_io_green = <11>;
			r_io_blue = <12>;
		};
		led-rgb5 {
			default_colors = <0 0 0>;
			c_io = <2>;        //C1...C6
			r_io_red = <10>;   //R1...R12
			r_io_green = <11>;
			r_io_blue = <12>;
		};
		led-rgb6 {
			default_colors = <0 0 0>;
			c_io = <1>;        //C1...C6
			r_io_red = <10>;   //R1...R12
			r_io_green = <11>;
			r_io_blue = <12>;
		};
		led-rgb7 {
			default_colors = <0 0 0>;
			c_io = <6>;        //C1...C6
			r_io_red = <7>;   //R1...R12
			r_io_green = <8>;
			r_io_blue = <9>;
		};
		led-rgb8 {
			default_colors = <0 0 0>;
			c_io = <5>;        //C1...C6
			r_io_red = <7>;   //R1...R12
			r_io_green = <8>;
			r_io_blue = <9>;
		};
		led-rgb9 {
			default_colors = <0 0 0>;
			c_io = <4>;        //C1...C6
			r_io_red = <7>;   //R1...R12
			r_io_green = <8>;
			r_io_blue = <9>;
		};
		led-rgb10 {
			default_colors = <0 0 0>;
			c_io = <3>;        //C1...C6
			r_io_red = <7>;   //R1...R12
			r_io_green = <8>;
			r_io_blue = <9>;
		};
		led-rgb11 {
			default_colors = <0 0 0>;
			c_io = <2>;        //C1...C6
			r_io_red = <7>;   //R1...R12
			r_io_green = <8>;
			r_io_blue = <9>;
		};
		led-rgb12 {
			default_colors = <0 0 0>;
			c_io = <1>;        //C1...C6
			r_io_red = <7>;   //R1...R12
			r_io_green = <8>;
			r_io_blue = <9>;
		};
		led-rgb13 {
			default_colors = <0 0 0>;
			c_io = <6>;        //C1...C6
			r_io_red = <4>;   //R1...R12
			r_io_green = <5>;
			r_io_blue = <6>;
		};
		led-rgb14 {
			default_colors = <0 0 0>;
			c_io = <5>;        //C1...C6
			r_io_red = <4>;   //R1...R12
			r_io_green = <5>;
			r_io_blue = <6>;
		};
		led-rgb15 {
			default_colors = <0 0 0>;
			c_io = <4>;        //C1...C6
			r_io_red = <4>;   //R1...R12
			r_io_green = <5>;
			r_io_blue = <6>;
		};
		led-rgb16 {
			default_colors = <0 0 0>;
			c_io = <3>;        //C1...C6
			r_io_red = <4>;   //R1...R12
			r_io_green = <5>;
			r_io_blue = <6>;
		};
		led-rgb17 {
			default_colors = <0 0 0>;
			c_io = <2>;        //C1...C6
			r_io_red = <4>;   //R1...R12
			r_io_green = <5>;
			r_io_blue = <6>;
		};
		led-rgb18 {
			default_colors = <0 0 0>;
			c_io = <1>;        //C1...C6
			r_io_red = <4>;   //R1...R12
			r_io_green = <5>;
			r_io_blue = <6>;
		};
		led-rgb19 {
			default_colors = <0 0 0>;
			c_io = <6>;        //C1...C6
			r_io_red = <1>;   //R1...R12
			r_io_green = <2>;
			r_io_blue = <3>;
		};
		led-rgb20 {
			default_colors = <0 0 0>;
			c_io = <5>;        //C1...C6
			r_io_red = <1>;   //R1...R12
			r_io_green = <2>;
			r_io_blue = <3>;
		};
		led-rgb21 {
			default_colors = <0 0 0>;
			c_io = <4>;        //C1...C6
			r_io_red = <1>;   //R1...R12
			r_io_green = <2>;
			r_io_blue = <3>;
		};
		led-rgb22 {
			default_colors = <0 0 0>;
			c_io = <3>;        //C1...C6
			r_io_red = <1>;   //R1...R12
			r_io_green = <2>;
			r_io_blue = <3>;
		};
		led-rgb23 {
			default_colors = <0 0 0>;
			c_io = <2>;        //C1...C6
			r_io_red = <1>;   //R1...R12
			r_io_green = <2>;
			r_io_blue = <3>;
		};
		led-rgb24 {
			default_colors = <0 0 0>;
			c_io = <1>;        //C1...C6
			r_io_red = <1>;   //R1...R12
			r_io_green = <2>;
			r_io_blue = <3>;
		};
	};
};

&custom_maps{
		mapnum = <4>;
		map0 = <&map_0>;
		map1 = <&map_1>;
		map2 = <&map_2>;
		map3 = <&map_3>;
		map_0: map_0{
			mapname = "amlogic-remote-1";
			customcode = <0xfb04>;
			release_delay = <80>;
			size  = <50>;   /*keymap size*/
			keymap = <REMOTE_KEY(0x47, KEY_0)
				REMOTE_KEY(0x13, KEY_1)
				REMOTE_KEY(0x10, KEY_2)
				REMOTE_KEY(0x11, KEY_3)
				REMOTE_KEY(0x0F, KEY_4)
				REMOTE_KEY(0x0C, KEY_5)
				REMOTE_KEY(0x0D, KEY_6)
				REMOTE_KEY(0x0B, KEY_7)
				REMOTE_KEY(0x08, KEY_8)
				REMOTE_KEY(0x09, KEY_9)
				REMOTE_KEY(0x5C, KEY_RIGHTCTRL)
				REMOTE_KEY(0x51, KEY_F3)
				REMOTE_KEY(0x50, KEY_F4)
				REMOTE_KEY(0x40, KEY_F5)
				REMOTE_KEY(0x4d, KEY_F6)
				REMOTE_KEY(0x43, KEY_F7)
				REMOTE_KEY(0x17, KEY_F8)
				REMOTE_KEY(0x00, KEY_F9)
				REMOTE_KEY(0x01, KEY_F10)
				REMOTE_KEY(0x16, KEY_F11)
				REMOTE_KEY(0x49, KEY_BACKSPACE)
				REMOTE_KEY(0x06, KEY_PROPS)
				REMOTE_KEY(0x14, KEY_UNDO)
				REMOTE_KEY(0x44, KEY_UP)
				REMOTE_KEY(0x1D, KEY_DOWN)
				REMOTE_KEY(0x1C, KEY_LEFT)
				REMOTE_KEY(0x48, KEY_RIGHT)
				REMOTE_KEY(0x53, KEY_LEFTMETA)
				REMOTE_KEY(0x45, KEY_PAGEUP)
				REMOTE_KEY(0x19, KEY_PAGEDOWN)
				REMOTE_KEY(0x52, KEY_PAUSE)
				REMOTE_KEY(0x05, KEY_HANGEUL)
				REMOTE_KEY(0x59, KEY_HANJA)
				REMOTE_KEY(0x1b, KEY_SCALE)
				REMOTE_KEY(0x04, KEY_KPCOMMA)
				REMOTE_KEY(0x1A, KEY_POWER)
				REMOTE_KEY(0x0A, KEY_TAB)
				REMOTE_KEY(0x0e, KEY_MUTE)
				REMOTE_KEY(0x1F, KEY_HOME)
				REMOTE_KEY(0x1e, KEY_FRONT)
				REMOTE_KEY(0x07, KEY_COPY)
				REMOTE_KEY(0x12, KEY_OPEN)
				REMOTE_KEY(0x54, KEY_PASTE)
				REMOTE_KEY(0x02, KEY_FIND)
				REMOTE_KEY(0x4f, KEY_A)
				REMOTE_KEY(0x42, KEY_B)
				REMOTE_KEY(0x5d, KEY_C)
				REMOTE_KEY(0x4c, KEY_D)
				REMOTE_KEY(0x58, KEY_CUT)
				REMOTE_KEY(0x55, KEY_CALC)>;
		};
		map_1: map_1{
			mapname = "amlogic-remote-2";
			customcode = <0xfe01>;
			release_delay = <80>;
			size  = <57>;
			keymap = <
				REMOTE_KEY(0x10, 200) /* power */
				REMOTE_KEY(0x1f, 201) /* eject-->input source */
				REMOTE_KEY(0x01, 202) /* usb */
				REMOTE_KEY(0x02, 203) /* bt */
				REMOTE_KEY(0x03, 204) /* aux */
				REMOTE_KEY(0x04, 205) /* scan-->hdmi arc */
				REMOTE_KEY(0x05, 206) /* spdif */
				REMOTE_KEY(0x06, 207) /* hdmi1 */
				REMOTE_KEY(0x07, 208) /* hdmi2 */
				REMOTE_KEY(0x17, 209) /* mute */
				REMOTE_KEY(0x0c, 210) /* vol+ */
				REMOTE_KEY(0x0d, 211) /* vol- */
				REMOTE_KEY(0x53, 212) /* DAP */
				REMOTE_KEY(0x52, 213) /* BM */
				REMOTE_KEY(0x49, 214) /* DRC */
				REMOTE_KEY(0x46, 215) /* POST */
				REMOTE_KEY(0x58, 216) /* UPMIX */
				REMOTE_KEY(0x5a, 217) /* VIRT */
				REMOTE_KEY(0x39, 218) /* VLAMP */
				REMOTE_KEY(0x40, 219) /* HFILT */
				REMOTE_KEY(0x42, 220) /* Loundness */
				REMOTE_KEY(0x1e, 221) /* VMCAL/cspread */
				REMOTE_KEY(0xb1, 222) /* CD */
				REMOTE_KEY(0xb4, 223) /* CD */
				REMOTE_KEY(0xb9, 224) /* CD */
				REMOTE_KEY(0x08, 225) /* loop */
				REMOTE_KEY(0x91, 226) /* CD */
				REMOTE_KEY(0x92, 227) /* CD */
				REMOTE_KEY(0x89, 228) /* CD */
				REMOTE_KEY(0x88, 229) /* CD */
				REMOTE_KEY(0x59, 230) /* Audio_info */
				REMOTE_KEY(0x84, 231) /* CD */
				REMOTE_KEY(0x1c, 232) /* DRC X+0.1 */
				REMOTE_KEY(0x1b, 233) /* DRC X-0.1 */
				REMOTE_KEY(0x19, 234) /* up/DRC Y+0.1 */
				REMOTE_KEY(0x1a, 235) /* down/DRC Y-0.1 */
				REMOTE_KEY(0xa0, 236) /* CD */
				REMOTE_KEY(0x0b, 237) /* Soft mute */
				REMOTE_KEY(0x0f, 238) /* soft vol- */
				REMOTE_KEY(0x0e, 239) /* soft vol+ */
				REMOTE_KEY(0x11, 240) /* Resume */
				REMOTE_KEY(0x57, 241) /* Pause */
				REMOTE_KEY(0x44, 242) /* LEGACY */
				REMOTE_KEY(0xa7, 243) /* CD */
				REMOTE_KEY(0x09, 244) /* random */
				REMOTE_KEY(0x00, 245) /* dtsx direct mode */
				REMOTE_KEY(0x0a, 246) /* dtsx drc  */
				REMOTE_KEY(0x5b, 247) /* dtsx imax  */
				REMOTE_KEY(0x13, 248) /* dtsx dialog gain  */
				REMOTE_KEY(0x41, 249) /* dtsx dialog norm  */
				REMOTE_KEY(0x43, 250) /* dtsx spkrout */
				REMOTE_KEY(0x15, 251) /* pcm surround effect */
				REMOTE_KEY(0x4b, 252) /* dtsvx enable */
				REMOTE_KEY(0x54, 253) /* dtsvx surround */
				REMOTE_KEY(0x4c, 254) /* dtsvx dialog clarity */
				REMOTE_KEY(0x4e, 255) /* dtsvx truvolhd */
				REMOTE_KEY(0x55, 256) /* dtsvx vol leveling*/
				>;
		};
		map_2: map_2{
			mapname = "amlogic-remote-3";
			customcode = <0xbd02>;
			release_delay = <80>;
			size  = <17>;
			keymap = <REMOTE_KEY(0xca,103)
			REMOTE_KEY(0xd2,108)
			REMOTE_KEY(0x99,105)
			REMOTE_KEY(0xc1,106)
			REMOTE_KEY(0xce,97)
			REMOTE_KEY(0x45,116)
			REMOTE_KEY(0xc5,133)
			REMOTE_KEY(0x80,113)
			REMOTE_KEY(0xd0,15)
			REMOTE_KEY(0xd6,125)
			REMOTE_KEY(0x95,102)
			REMOTE_KEY(0xdd,104)
			REMOTE_KEY(0x8c,109)
			REMOTE_KEY(0x89,131)
			REMOTE_KEY(0x9c,130)
			REMOTE_KEY(0x9a,120)
			REMOTE_KEY(0xcd,121)>;
		};
		map_3: map_3{
			mapname = "amlogic-remote-3";
			customcode = <0xa4e8>; /* Reference Remote Control */
			release_delay = <80>;
			size  = <45>;
			keymap = <
				REMOTE_KEY(0xc7, 200) /* power */
				REMOTE_KEY(0x93, 201) /* eject-->input source */
				REMOTE_KEY(0xb2, 202) /* usb */
				REMOTE_KEY(0xb8, 203) /* bt */
				REMOTE_KEY(0xb7, 204) /* aux */
				REMOTE_KEY(0x8a, 205) /* scan-->hdmi arc */
				REMOTE_KEY(0x96, 206) /* spdif */
				REMOTE_KEY(0x90, 207) /* hdmi1 */
				REMOTE_KEY(0xa8, 208) /* hdmi2 */
				REMOTE_KEY(0x85, 209) /* mute */
				REMOTE_KEY(0x80, 210) /* vol+ */
				REMOTE_KEY(0x81, 211) /* vol- */
				REMOTE_KEY(0x61, 212) /* DAP */
				REMOTE_KEY(0x62, 213) /* BM */
				REMOTE_KEY(0x63, 214) /* DRC */
				REMOTE_KEY(0x64, 215) /* POST */
				REMOTE_KEY(0x65, 216) /* UPMIX */
				REMOTE_KEY(0x66, 217) /* VIRT */
				REMOTE_KEY(0x67, 218) /* VLAMP */
				REMOTE_KEY(0x68, 219) /* HFILT */
				REMOTE_KEY(0x69, 220) /* Loundness */
				REMOTE_KEY(0x60, 221) /* VMCAL/cspread */
				REMOTE_KEY(0xb1, 222) /* CD */
				REMOTE_KEY(0xb4, 223) /* CD */
				REMOTE_KEY(0xb9, 224) /* CD */
				REMOTE_KEY(0xab, 225) /* loop */
				REMOTE_KEY(0x91, 226) /* CD */
				REMOTE_KEY(0x92, 227) /* CD */
				REMOTE_KEY(0x89, 228) /* CD */
				REMOTE_KEY(0x88, 229) /* CD */
				REMOTE_KEY(0xa5, 230) /* Audio_info */
				REMOTE_KEY(0x84, 231) /* CD */
				REMOTE_KEY(0x72, 232) /* DRC X+0.1 */
				REMOTE_KEY(0x73, 233) /* DRC X-0.1 */
				REMOTE_KEY(0x9a, 234) /* up/DRC Y+0.1 */
				REMOTE_KEY(0x9b, 235) /* down/DRC Y-0.1 */
				REMOTE_KEY(0xa0, 236) /* CD */
				REMOTE_KEY(0x71, 237) /* Soft mute */
				REMOTE_KEY(0x74, 238) /* soft vol- */
				REMOTE_KEY(0x75, 239) /* soft vol+ */
				REMOTE_KEY(0x7e, 240) /* Resume */
				REMOTE_KEY(0x7f, 241) /* Pause */
				REMOTE_KEY(0x7a, 242) /* LEGACY */
				REMOTE_KEY(0xa7, 243) /* CD */
				REMOTE_KEY(0xa9, 244) /* random */
				>;
		};
};

&amlvecm {
	status = "disabled";
	gamma_en = <0>;/*1:enable ;0:disable*/
	wb_en = <0>;/*1:enable ;0:disable*/
	vlock_en = <0>;/*1:enable;0:disable*/
};

&vpu {
	status = "disabled";
};

&vout {
	status = "disabled";
};

&canvas {
	status = "disabled";
};

&fb {
	status = "disabled";
};

&meson_amvideom {
	status = "disabled";
};

&jtag {
	status = "disabled";
};

&periphs_pinctrl {
	gt_uwb_pin:gt_uwb_pin {
		mux {
			groups = "GPIOT_0", "GPIOT_1", "GPIOT_2","GPIOT_3","GPIOT_4","GPIOT_9";
			function = "gpio_periphs";
			bias-pull-down;
			output-low;
		};
	};

	spi_gt_pin:spi_gt_pin {
		mux {
			groups = "GPIOT_5", "GPIOT_6", "GPIOT_7","GPIOT_8";
			function = "gpio_periphs";
			bias-pull-down;
			output-low;
		};
	};
};
